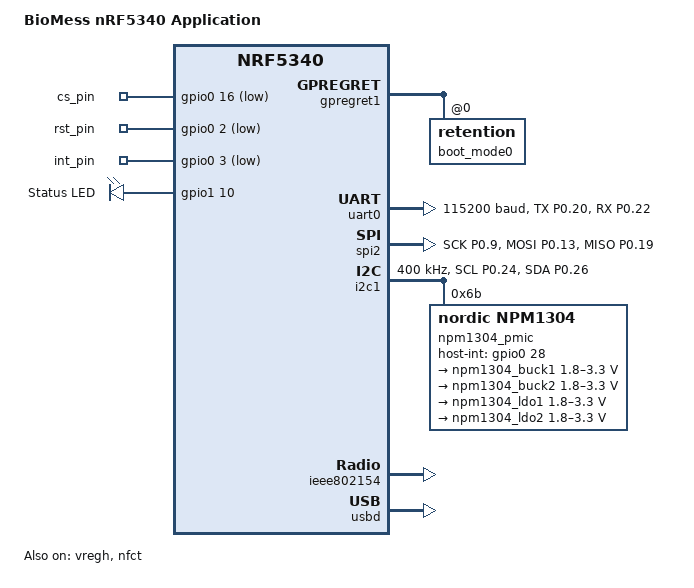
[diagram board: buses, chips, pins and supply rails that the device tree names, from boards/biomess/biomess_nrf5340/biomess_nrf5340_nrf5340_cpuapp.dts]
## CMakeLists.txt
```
# SPDX-License-Identifier: Apache-2.0

cmake_minimum_required(VERSION 3.20.0)
find_package(Zephyr REQUIRED HINTS $ENV{ZEPHYR_BASE})
project(biomess_nrf5340)

target_sources(app PRIVATE
    src/main.c
    src/ble_service.c
    src/board_power.c
    src/contact_check.c
    src/ad5940/ad5940.c
    src/ad5940/BodyImpedance.c
    src/ad5940/AD5940Main.c
    src/ad5940/ZephyrPort.c
)

target_include_directories(app PRIVATE src/ad5940)
```

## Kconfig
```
menu "BioMess firmware"

config BIOMESS_SERIAL_NUMBER
	string "BioMess serial number"
	default "BM-NRF5340-00"
	help
	  Human-readable device serial exposed over the BioMess BLE serial
	  characteristic. Set this per board together with CONFIG_BT_DEVICE_NAME,
	  for example Messi-02.

config MYOHM_EXCITATION_MVPP
	int "AD5941 excitation DAC amplitude (mV peak-to-peak)"
	range 50 800
	default 800
	help
	  Default sweep amplitude written to AppBIACfg.DacVoltPP, in mV
	  peak-to-peak at the HSDAC, before the x2 excitation buffer gain
	  (EXCITBUFGAIN_2). The voltage at CE0 is twice this value and the
	  current into I+ is limited by the 1 kohm series resistor RL1.

	  800 keeps the setting used for all published Myohm data: 1.6 V pp at
	  CE0 (0.57 mA rms into a short), outside the +/-607 mV range over
	  which the AD5941 output is specified. 500 is the recommended value
	  for measurements on people: 1.0 V pp at CE0, 0.35 mA rms into a
	  short. BLE clients can override the value through characteristic
	  0xC018; the override is kept in RAM and returns to this default
	  after a reset.

config MYOHM_CONTACT_HIGH_OHMS
	int "Contact check threshold for a high two-wire impedance (ohms)"
	range 100 1000000
	default 3000
	help
	  BLE command 0x0B measures the two-wire impedance between electrode
	  pairs at 10 kHz and 100 kHz. An entry whose magnitude, after
	  subtracting the board series elements (RL1 and the 4.7 uF coupling
	  capacitors), exceeds this threshold is flagged as high contact.
	  Each pair includes two contacts plus the tissue between them. The
	  default sits between a pair of 1 kohm contacts (about 2 kohm) and a
	  single 4.99 kohm contact (above 5 kohm) on the AD5940 Z test board.

endmenu

source "Kconfig.zephyr"
```

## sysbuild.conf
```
# Build the nRF5340 network-core Bluetooth controller image.
SB_CONFIG_NETCORE_HCI_IPC=y
```

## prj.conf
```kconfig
CONFIG_GPIO=y
CONFIG_SPI=y
CONFIG_I2C=y
CONFIG_SENSOR=y
CONFIG_REGULATOR=y
CONFIG_LOG=y
CONFIG_FPU=y
CONFIG_NEWLIB_LIBC=y
CONFIG_NEWLIB_LIBC_FLOAT_PRINTF=y

CONFIG_MAIN_STACK_SIZE=8192
CONFIG_SYSTEM_WORKQUEUE_STACK_SIZE=4096

# Let Zephyr place idle-capable peripherals into low-power states when they are not in use.
CONFIG_PM_DEVICE=y
CONFIG_PM_DEVICE_RUNTIME=y

CONFIG_SERIAL=y
CONFIG_CONSOLE=y
CONFIG_UART_CONSOLE=y
CONFIG_PRINTK=y
CONFIG_LOG_BACKEND_UART=y
CONFIG_FAULT_DUMP=2

# The application core uses HCI IPC, so it must release the network core.
CONFIG_SOC_NRF53_CPUNET_ENABLE=y

# Bluetooth peripheral used by the Android and iOS apps in this repo.
CONFIG_BT=y
CONFIG_BT_PERIPHERAL=y
CONFIG_BT_DEVICE_NAME="BioMess"
CONFIG_BT_DEVICE_APPEARANCE=833
CONFIG_BT_MAX_CONN=1
CONFIG_BT_GATT_CLIENT=n
CONFIG_BT_GATT_DYNAMIC_DB=n
CONFIG_BT_BUF_ACL_TX_SIZE=251
CONFIG_BT_BUF_ACL_RX_SIZE=251
CONFIG_BT_BUF_ACL_TX_COUNT=10
CONFIG_BT_BUF_EVT_RX_COUNT=12
CONFIG_BT_L2CAP_TX_MTU=247
CONFIG_BT_ATT_PREPARE_COUNT=2
```

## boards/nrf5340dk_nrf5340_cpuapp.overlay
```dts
#include <zephyr/dt-bindings/regulator/npm13xx.h>

&uicr {
	nfct-pins-as-gpios;
};

&spi4 {
	status = "disabled";
};

&pinctrl {
	spi2_default: spi2_default {
		group1 {
			psels = <NRF_PSEL(SPIM_SCK, 0, 9)>,
				<NRF_PSEL(SPIM_MOSI, 0, 13)>,
				<NRF_PSEL(SPIM_MISO, 0, 19)>;
		};
	};
	spi2_sleep: spi2_sleep {
		group1 {
			psels = <NRF_PSEL(SPIM_SCK, 0, 9)>,
				<NRF_PSEL(SPIM_MOSI, 0, 13)>,
				<NRF_PSEL(SPIM_MISO, 0, 19)>;
			low-power-enable;
		};
	};
	i2c1_default: i2c1_default {
		group1 {
			psels = <NRF_PSEL(TWIM_SCL, 0, 24)>,
				<NRF_PSEL(TWIM_SDA, 0, 26)>;
			bias-pull-up;
		};
	};
	i2c1_sleep: i2c1_sleep {
		group1 {
			psels = <NRF_PSEL(TWIM_SCL, 0, 24)>,
				<NRF_PSEL(TWIM_SDA, 0, 26)>;
			low-power-enable;
		};
	};
};

&spi2 {
	compatible = "nordic,nrf-spim";
	status = "okay";
	pinctrl-0 = <&spi2_default>;
	pinctrl-1 = <&spi2_sleep>;
	pinctrl-names = "default", "sleep";
	/delete-property/ cs-gpios;
};

&i2c1 {
	compatible = "nordic,nrf-twim";
	status = "okay";
	pinctrl-0 = <&i2c1_default>;
	pinctrl-1 = <&i2c1_sleep>;
	pinctrl-names = "default", "sleep";
	clock-frequency = <I2C_BITRATE_FAST>;

	npm1304_pmic: pmic@6b {
		compatible = "nordic,npm1304";
		reg = <0x6b>;
		host-int-gpios = <&gpio0 28 GPIO_ACTIVE_LOW>;
		pmic-int-pin = <3>;
		ship-to-active-time-ms = <96>;
		long-press-reset = "one-button";

		npm1304_gpio: gpio-controller {
			compatible = "nordic,npm1304-gpio";
			gpio-controller;
			#gpio-cells = <2>;
			ngpios = <5>;
		};

		npm1304_regulators: regulators {
			compatible = "nordic,npm1304-regulator";

			npm1304_buck1: BUCK1 {
				regulator-min-microvolt = <1800000>;
				regulator-max-microvolt = <3300000>;
				regulator-boot-on;
			};

			npm1304_buck2: BUCK2 {
				regulator-min-microvolt = <1800000>;
				regulator-max-microvolt = <3300000>;
			};

			npm1304_ldo1: LDO1 {
				regulator-min-microvolt = <1800000>;
				regulator-max-microvolt = <3300000>;
			};

			npm1304_ldo2: LDO2 {
				regulator-min-microvolt = <1800000>;
				regulator-max-microvolt = <3300000>;
			};
		};

		npm1304_charger: charger {
			compatible = "nordic,npm1304-charger";
			term-microvolt = <4150000>;
			term-warm-microvolt = <4000000>;
			current-microamp = <100000>;
			vbus-limit-microamp = <500000>;
			thermistor-ohms = <10000>;
			thermistor-beta = <3380>;
			charging-enable;
		};
	};
};

/ {
	aliases {
		led0 = &status_led;
		sw0 = &power_button;
	};

	ad5940_gpios {
		compatible = "gpio-leds";
		cs_pin: cs_pin {
			gpios = <&gpio0 16 GPIO_ACTIVE_LOW>;
		};
		rst_pin: rst_pin {
			gpios = <&gpio0 2 GPIO_ACTIVE_LOW>;
		};
		int_pin: int_pin {
			gpios = <&gpio0 3 (GPIO_PULL_UP | GPIO_ACTIVE_LOW)>;
		};
	};

	leds {
		compatible = "gpio-leds";
		status_led: status_led {
			gpios = <&gpio1 10 GPIO_ACTIVE_HIGH>;
			label = "Status LED";
		};
	};

	buttons {
		compatible = "gpio-keys";
		power_button: power_button {
			gpios = <&gpio1 6 (GPIO_PULL_UP | GPIO_ACTIVE_LOW)>;
			label = "nPM1304 power button";
		};
	};
};
```

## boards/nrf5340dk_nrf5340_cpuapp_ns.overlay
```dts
#include <zephyr/dt-bindings/regulator/npm13xx.h>

&uicr {
	nfct-pins-as-gpios;
};

&spi4 {
	status = "disabled";
};

&pinctrl {
	spi2_default: spi2_default {
		group1 {
			psels = <NRF_PSEL(SPIM_SCK, 0, 9)>,
				<NRF_PSEL(SPIM_MOSI, 0, 13)>,
				<NRF_PSEL(SPIM_MISO, 0, 19)>;
		};
	};
	spi2_sleep: spi2_sleep {
		group1 {
			psels = <NRF_PSEL(SPIM_SCK, 0, 9)>,
				<NRF_PSEL(SPIM_MOSI, 0, 13)>,
				<NRF_PSEL(SPIM_MISO, 0, 19)>;
			low-power-enable;
		};
	};
	i2c1_default: i2c1_default {
		group1 {
			psels = <NRF_PSEL(TWIM_SCL, 0, 24)>,
				<NRF_PSEL(TWIM_SDA, 0, 26)>;
			bias-pull-up;
		};
	};
	i2c1_sleep: i2c1_sleep {
		group1 {
			psels = <NRF_PSEL(TWIM_SCL, 0, 24)>,
				<NRF_PSEL(TWIM_SDA, 0, 26)>;
			low-power-enable;
		};
	};
};

&spi2 {
	compatible = "nordic,nrf-spim";
	status = "okay";
	pinctrl-0 = <&spi2_default>;
	pinctrl-1 = <&spi2_sleep>;
	pinctrl-names = "default", "sleep";
	/delete-property/ cs-gpios;
};

&i2c1 {
	compatible = "nordic,nrf-twim";
	status = "okay";
	pinctrl-0 = <&i2c1_default>;
	pinctrl-1 = <&i2c1_sleep>;
	pinctrl-names = "default", "sleep";
	clock-frequency = <I2C_BITRATE_FAST>;

	npm1304_pmic: pmic@6b {
		compatible = "nordic,npm1304";
		reg = <0x6b>;
		host-int-gpios = <&gpio0 28 GPIO_ACTIVE_LOW>;
		pmic-int-pin = <3>;
		ship-to-active-time-ms = <96>;
		long-press-reset = "one-button";

		npm1304_gpio: gpio-controller {
			compatible = "nordic,npm1304-gpio";
			gpio-controller;
			#gpio-cells = <2>;
			ngpios = <5>;
		};

		npm1304_regulators: regulators {
			compatible = "nordic,npm1304-regulator";

			npm1304_buck1: BUCK1 {
				regulator-min-microvolt = <1800000>;
				regulator-max-microvolt = <3300000>;
				regulator-boot-on;
			};

			npm1304_buck2: BUCK2 {
				regulator-min-microvolt = <1800000>;
				regulator-max-microvolt = <3300000>;
			};

			npm1304_ldo1: LDO1 {
				regulator-min-microvolt = <1800000>;
				regulator-max-microvolt = <3300000>;
			};

			npm1304_ldo2: LDO2 {
				regulator-min-microvolt = <1800000>;
				regulator-max-microvolt = <3300000>;
			};
		};

		npm1304_charger: charger {
			compatible = "nordic,npm1304-charger";
			term-microvolt = <4150000>;
			term-warm-microvolt = <4000000>;
			current-microamp = <100000>;
			vbus-limit-microamp = <500000>;
			thermistor-ohms = <10000>;
			thermistor-beta = <3380>;
			charging-enable;
		};
	};
};

/ {
	aliases {
		led0 = &status_led;
		sw0 = &power_button;
	};

	ad5940_gpios {
		compatible = "gpio-leds";
		cs_pin: cs_pin {
			gpios = <&gpio0 16 GPIO_ACTIVE_LOW>;
		};
		rst_pin: rst_pin {
			gpios = <&gpio0 2 GPIO_ACTIVE_LOW>;
		};
		int_pin: int_pin {
			gpios = <&gpio0 3 (GPIO_PULL_UP | GPIO_ACTIVE_LOW)>;
		};
	};

	leds {
		compatible = "gpio-leds";
		status_led: status_led {
			gpios = <&gpio1 10 GPIO_ACTIVE_HIGH>;
			label = "Status LED";
		};
	};

	buttons {
		compatible = "gpio-keys";
		power_button: power_button {
			gpios = <&gpio1 6 (GPIO_PULL_UP | GPIO_ACTIVE_LOW)>;
			label = "nPM1304 power button";
		};
	};
};
```

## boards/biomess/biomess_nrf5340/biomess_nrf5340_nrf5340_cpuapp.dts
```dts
/*
 * BioMess nRF5340 PCB application core devicetree.
 *
 * SPDX-License-Identifier: Apache-2.0
 */

/dts-v1/;
#include <nordic/nrf5340_cpuapp_qkaa.dtsi>
#include <zephyr/dt-bindings/regulator/npm13xx.h>

/ {
	model = "BioMess nRF5340 Application";
	compatible = "biomess,biomess-nrf5340-cpuapp";

	chosen {
		zephyr,console = &uart0;
		zephyr,shell-uart = &uart0;
		zephyr,uart-mcumgr = &uart0;
		zephyr,bt-mon-uart = &uart0;
		zephyr,bt-c2h-uart = &uart0;
		zephyr,bt-hci = &bt_hci_ipc0;
		nordic,802154-spinel-ipc = &ipc0;
		zephyr,ieee802154 = &ieee802154;
		zephyr,sram = &sram0_image;
		zephyr,flash = &flash0;
		zephyr,code-partition = &slot0_partition;
		zephyr,sram-secure-partition = &sram0_s;
		zephyr,sram-non-secure-partition = &sram0_ns;
		zephyr,boot-mode = &boot_mode0;
	};

	aliases {
		led0 = &status_led;
		watchdog0 = &wdt0;
	};

	ad5940_gpios {
		compatible = "gpio-leds";
		cs_pin: cs_pin {
			gpios = <&gpio0 16 GPIO_ACTIVE_LOW>;
		};
		rst_pin: rst_pin {
			gpios = <&gpio0 2 GPIO_ACTIVE_LOW>;
		};
		int_pin: int_pin {
			gpios = <&gpio0 3 (GPIO_PULL_UP | GPIO_ACTIVE_LOW)>;
		};
	};

	leds {
		compatible = "gpio-leds";
		status_led: status_led {
			gpios = <&gpio1 10 GPIO_ACTIVE_HIGH>;
			label = "Status LED";
		};
	};

};

&uicr {
	nfct-pins-as-gpios;
};

&gpregret1 {
	status = "okay";

	boot_mode0: boot_mode@0 {
		compatible = "zephyr,retention";
		status = "okay";
		reg = <0x0 0x1>;
	};
};

&vregmain {
	regulator-initial-mode = <NRF5X_REG_MODE_DCDC>;
};

&vregradio {
	regulator-initial-mode = <NRF5X_REG_MODE_DCDC>;
};

&vregh {
	status = "okay";
};

&lfxo {
	load-capacitors = "internal";
	load-capacitance-picofarad = <7>;
};

&gpiote {
	status = "okay";
};

&gpio0 {
	status = "okay";
};

&gpio1 {
	status = "okay";
};

&nfct {
	status = "okay";
};

&spi4 {
	status = "disabled";
};

&pinctrl {
	uart0_default: uart0_default {
		group1 {
			psels = <NRF_PSEL(UART_TX, 0, 20)>;
		};
		group2 {
			psels = <NRF_PSEL(UART_RX, 0, 22)>;
			bias-pull-up;
		};
	};

	uart0_sleep: uart0_sleep {
		group1 {
			psels = <NRF_PSEL(UART_TX, 0, 20)>,
				<NRF_PSEL(UART_RX, 0, 22)>;
			low-power-enable;
		};
	};

	spi2_default: spi2_default {
		group1 {
			psels = <NRF_PSEL(SPIM_SCK, 0, 9)>,
				<NRF_PSEL(SPIM_MOSI, 0, 13)>,
				<NRF_PSEL(SPIM_MISO, 0, 19)>;
		};
	};

	spi2_sleep: spi2_sleep {
		group1 {
			psels = <NRF_PSEL(SPIM_SCK, 0, 9)>,
				<NRF_PSEL(SPIM_MOSI, 0, 13)>,
				<NRF_PSEL(SPIM_MISO, 0, 19)>;
			low-power-enable;
		};
	};

	i2c1_default: i2c1_default {
		group1 {
			psels = <NRF_PSEL(TWIM_SCL, 0, 24)>,
				<NRF_PSEL(TWIM_SDA, 0, 26)>;
			bias-pull-up;
		};
	};

	i2c1_sleep: i2c1_sleep {
		group1 {
			psels = <NRF_PSEL(TWIM_SCL, 0, 24)>,
				<NRF_PSEL(TWIM_SDA, 0, 26)>;
			low-power-enable;
		};
	};
};

&uart0 {
	status = "okay";
	current-speed = <115200>;
	pinctrl-0 = <&uart0_default>;
	pinctrl-1 = <&uart0_sleep>;
	pinctrl-names = "default", "sleep";
};

&spi2 {
	compatible = "nordic,nrf-spim";
	status = "okay";
	pinctrl-0 = <&spi2_default>;
	pinctrl-1 = <&spi2_sleep>;
	pinctrl-names = "default", "sleep";
};

&i2c1 {
	compatible = "nordic,nrf-twim";
	status = "okay";
	pinctrl-0 = <&i2c1_default>;
	pinctrl-1 = <&i2c1_sleep>;
	pinctrl-names = "default", "sleep";
	clock-frequency = <I2C_BITRATE_FAST>;

	npm1304_pmic: pmic@6b {
		compatible = "nordic,npm1304";
		reg = <0x6b>;
		host-int-gpios = <&gpio0 28 0>;
		pmic-int-pin = <0>;
		ship-to-active-time-ms = <96>;
		long-press-reset = "one-button";

		npm1304_gpio: gpio-controller {
			compatible = "nordic,npm1304-gpio";
			gpio-controller;
			#gpio-cells = <2>;
			ngpios = <5>;
		};

		npm1304_regulators: regulators {
			compatible = "nordic,npm1304-regulator";

			npm1304_buck1: BUCK1 {
				/* Unpopulated BUCK1: SW1 open, VSET1 grounded. */
				status = "disabled";
				regulator-min-microvolt = <1800000>;
				regulator-max-microvolt = <3300000>;
			};

			npm1304_buck2: BUCK2 {
				regulator-min-microvolt = <1800000>;
				regulator-max-microvolt = <3300000>;
			};

			npm1304_ldo1: LDO1 {
				regulator-min-microvolt = <1800000>;
				regulator-max-microvolt = <3300000>;
			};

			npm1304_ldo2: LDO2 {
				regulator-min-microvolt = <1800000>;
				regulator-max-microvolt = <3300000>;
			};
		};

		npm1304_charger: charger {
			compatible = "nordic,npm1304-charger";
			term-microvolt = <4150000>;
			term-warm-microvolt = <4000000>;
			current-microamp = <100000>;
			vbus-limit-microamp = <500000>;
			thermistor-ohms = <10000>;
			thermistor-beta = <3380>;
			/* Charge enable withheld: R7 is fixed, cell has no verified NTC. */
		};
	};
};

&ieee802154 {
	status = "okay";
};

zephyr_udc0: &usbd {
	compatible = "nordic,nrf-usbd";
	status = "okay";
};

#include <nordic/nrf5340_cpuapp_partition.dtsi>
```

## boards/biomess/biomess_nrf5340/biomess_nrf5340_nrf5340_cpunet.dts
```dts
/*
 * BioMess nRF5340 PCB network core devicetree.
 *
 * SPDX-License-Identifier: Apache-2.0
 */

/dts-v1/;
#include <nordic/nrf5340_cpunet_qkaa.dtsi>

/ {
	model = "BioMess nRF5340 Network";
	compatible = "biomess,biomess-nrf5340-cpunet";

	chosen {
		zephyr,console = &uart0;
		zephyr,shell-uart = &uart0;
		zephyr,uart-mcumgr = &uart0;
		zephyr,bt-mon-uart = &uart0;
		zephyr,bt-c2h-uart = &uart0;
		zephyr,bt-hci-ipc = &ipc0;
		nordic,802154-spinel-ipc = &ipc0;
		zephyr,sram = &sram1;
		zephyr,flash = &flash1;
		zephyr,code-partition = &slot0_partition;
		zephyr,ieee802154 = &ieee802154;
	};

	aliases {
		watchdog0 = &wdt0;
	};
};

&gpiote {
	status = "okay";
};

&gpio0 {
	status = "okay";
};

&gpio1 {
	status = "okay";
};

&pinctrl {
	uart0_default: uart0_default {
		group1 {
			psels = <NRF_PSEL(UART_TX, 1, 1)>;
		};
		group2 {
			psels = <NRF_PSEL(UART_RX, 1, 0)>;
			bias-pull-up;
		};
	};

	uart0_sleep: uart0_sleep {
		group1 {
			psels = <NRF_PSEL(UART_TX, 1, 1)>,
				<NRF_PSEL(UART_RX, 1, 0)>;
			low-power-enable;
		};
	};
};

&uart0 {
	status = "okay";
	current-speed = <115200>;
	pinctrl-0 = <&uart0_default>;
	pinctrl-1 = <&uart0_sleep>;
	pinctrl-names = "default", "sleep";
};

&flash1 {
	partitions {
		compatible = "fixed-partitions";
		#address-cells = <1>;
		#size-cells = <1>;

		boot_partition: partition@0 {
			label = "mcuboot";
			reg = <0x00000000 0xc000>;
		};

		slot0_partition: partition@c000 {
			label = "image-0";
			reg = <0x0000c000 0x17000>;
		};

		slot1_partition: partition@23000 {
			label = "image-1";
			reg = <0x00023000 0x17000>;
		};

		storage_partition: partition@3a000 {
			label = "storage";
			reg = <0x0003a000 0x6000>;
		};
	};
};

&ieee802154 {
	status = "okay";
};

#include <nordic/nrf5340_shared_sram_partition.dtsi>
```

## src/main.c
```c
#include <zephyr/kernel.h>
#include <zephyr/drivers/gpio.h>
#include <zephyr/logging/log.h>
#include <stdio.h>
#include "ad5940.h"
#include "AD5940Main.h"
#include "ble_service.h"
#include "board_power.h"

LOG_MODULE_REGISTER(main, LOG_LEVEL_INF);

volatile int biomess_boot_ble_ret = -9999;
volatile int biomess_boot_ad5940_ret = -9999;
volatile uint32_t biomess_boot_status_flags;

#define BIOMESS_BOOT_STATUS_BLE_OK BIT(0)
#define BIOMESS_BOOT_STATUS_AD5940_OK BIT(1)

static const struct gpio_dt_spec status_led = GPIO_DT_SPEC_GET_OR(DT_ALIAS(led0), gpios, {0});
static struct k_work button_short_led_work;
static struct k_work button_long_ready_led_work;
static struct k_work button_shutdown_led_work;

static void status_led_init(void)
{
	if (!gpio_is_ready_dt(&status_led)) {
		printf("WARN: status LED GPIO is not ready\n");
		return;
	}

	int ret = gpio_pin_configure_dt(&status_led, GPIO_OUTPUT_INACTIVE);
	if (ret != 0) {
		printf("WARN: status LED config failed: %d\n", ret);
		return;
	}

	printf("Status LED ready on %s.%u\n", status_led.port->name, status_led.pin);
}

static void status_led_set(bool on)
{
	if (!gpio_is_ready_dt(&status_led)) {
		return;
	}

	gpio_pin_set_dt(&status_led, on ? 1 : 0);
}

static void status_led_pattern(uint8_t pulses)
{
	if (!gpio_is_ready_dt(&status_led)) {
		k_msleep(1000);
		return;
	}

	for (uint8_t i = 0; i < pulses; i++) {
		gpio_pin_set_dt(&status_led, 1);
		k_msleep(120);
		gpio_pin_set_dt(&status_led, 0);
		k_msleep(160);
	}

	k_msleep(1200);
}

static void button_short_led_work_handler(struct k_work *work)
{
	ARG_UNUSED(work);

	if (!gpio_is_ready_dt(&status_led)) {
		return;
	}

	gpio_pin_set_dt(&status_led, 1);
	k_msleep(90);
	gpio_pin_set_dt(&status_led, 0);
}

static void button_long_ready_led_work_handler(struct k_work *work)
{
	ARG_UNUSED(work);

	if (!gpio_is_ready_dt(&status_led)) {
		return;
	}

	gpio_pin_set_dt(&status_led, 1);
	k_msleep(850);
	gpio_pin_set_dt(&status_led, 0);
}

static void button_shutdown_led_work_handler(struct k_work *work)
{
	ARG_UNUSED(work);

	if (!gpio_is_ready_dt(&status_led)) {
		return;
	}

	gpio_pin_set_dt(&status_led, 0);
}

static uint8_t status_led_pulses(void)
{
	bool ble_ok = biomess_boot_ble_ret == 0;
	bool ad5940_ok = biomess_boot_ad5940_ret == 0;

	if (ble_ok && ad5940_ok) {
		return 1;
	}
	if (!ble_ok && ad5940_ok) {
		return 2;
	}
	if (ble_ok && !ad5940_ok) {
		return 3;
	}
	return 4;
}

static void power_button_callback(enum board_power_button_event event)
{
	if (event == BOARD_POWER_BUTTON_SHORT_PRESS) {
		k_work_submit(&button_short_led_work);
		ble_service_request_fast_advertising();
	} else if (event == BOARD_POWER_BUTTON_LONG_PRESS_READY) {
		k_work_submit(&button_long_ready_led_work);
	} else if (event == BOARD_POWER_BUTTON_SHUTDOWN_RELEASED) {
		k_work_submit(&button_shutdown_led_work);
	}
}

int main(void)
{
	status_led_init();
	k_work_init(&button_short_led_work, button_short_led_work_handler);
	k_work_init(&button_long_ready_led_work, button_long_ready_led_work_handler);
	k_work_init(&button_shutdown_led_work, button_shutdown_led_work_handler);
	status_led_set(true);

	/* Delay to allow serial connection before output */
	k_msleep(3000);
	printf("\n\n=== AD5940 Bioimpedance Analyzer ===\n");

	board_power_init();
	biomess_boot_ble_ret = ble_service_init();
	if (biomess_boot_ble_ret == 0) {
		biomess_boot_status_flags |= BIOMESS_BOOT_STATUS_BLE_OK;
	} else {
		printf("ERROR: BLE init failed: %d\n", biomess_boot_ble_ret);
	}

	biomess_boot_ad5940_ret = AD5940_MCUResourceInit();
	if (biomess_boot_ad5940_ret == 0) {
		biomess_boot_status_flags |= BIOMESS_BOOT_STATUS_AD5940_OK;
	} else {
		printf("ERROR: MCU resource init failed: %d\n", biomess_boot_ad5940_ret);
	}

	board_power_set_button_callback(power_button_callback);
	status_led_set(false);
	k_msleep(250);
	status_led_pattern(status_led_pulses());
	printf("Ready. Connect with the BioMess app and send BLE command 0x01.\n");

	k_sleep(K_FOREVER);

	return 0;
}
```

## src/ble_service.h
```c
#ifndef BLE_SERVICE_H
#define BLE_SERVICE_H

#include <stddef.h>
#include <stdint.h>

int ble_service_init(void);
void ble_service_request_fast_advertising(void);
int ble_service_notify_measurement_chunk(const void *data, size_t len);
int ble_service_notify_battery(uint16_t voltage_mv, uint16_t percentage);

#endif
```

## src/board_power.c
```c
#include "board_power.h"

#include <zephyr/device.h>
#include <zephyr/devicetree.h>
#include <zephyr/drivers/gpio.h>
#include <zephyr/drivers/mfd/npm13xx.h>
#include <zephyr/drivers/regulator.h>
#include <zephyr/drivers/sensor.h>
#include <zephyr/kernel.h>
#include <zephyr/logging/log.h>
#include <zephyr/sys/util.h>

LOG_MODULE_REGISTER(board_power, LOG_LEVEL_INF);

#define PMIC_NODE DT_NODELABEL(npm1304_pmic)
#define CHARGER_NODE DT_NODELABEL(npm1304_charger)
#define REGULATORS_NODE DT_NODELABEL(npm1304_regulators)

#define POWER_BUTTON_LONG_PRESS_MS 3000
#define POWER_BUTTON_SHIP_AFTER_RELEASE_MS 250

static const struct device *const pmic = DEVICE_DT_GET(PMIC_NODE);
static const struct device *const charger = DEVICE_DT_GET(CHARGER_NODE);
static const struct device *const regulators = DEVICE_DT_GET(REGULATORS_NODE);

static struct gpio_callback pmic_event_cb;
static struct k_work_delayable long_press_work;
static struct k_work_delayable ship_after_release_work;
static bool vbus_connected;
static bool button_pressed;
static bool long_press_ready;
static board_power_button_callback_t button_callback;
static int64_t last_button_release_handled_ms;

void board_power_set_button_callback(board_power_button_callback_t callback)
{
	button_callback = callback;
}

static int board_power_refresh_vbus_state(void)
{
	struct sensor_value val;
	int ret;

	if (!device_is_ready(charger)) {
		return -ENODEV;
	}

	ret = sensor_attr_get(charger, SENSOR_CHAN_CURRENT, SENSOR_ATTR_UPPER_THRESH, &val);
	if (ret < 0) {
		return ret;
	}

	vbus_connected = (val.val1 != 0) || (val.val2 != 0);
	return 0;
}

int board_power_enter_ship_mode(void)
{
	int ret;

	if (!device_is_ready(regulators)) {
		LOG_WRN("nPM1304 regulators are not ready");
		return -ENODEV;
	}

	if (vbus_connected) {
		LOG_WRN("Ship mode entry blocked while USB VBUS is present");
		return -EBUSY;
	}

	LOG_INF("Entering nPM1304 ship mode");
	ret = regulator_parent_ship_mode(regulators);
	if (ret < 0) {
		LOG_ERR("Could not enter nPM1304 ship mode: %d", ret);
	}

	return ret;
}

static void board_power_handle_button_release(int64_t press_duration_ms)
{
	int64_t now_ms = k_uptime_get();

	button_pressed = false;
	(void)k_work_cancel_delayable(&long_press_work);

	if ((now_ms - last_button_release_handled_ms) < 250) {
		LOG_INF("Ignoring duplicate button release event");
		return;
	}
	last_button_release_handled_ms = now_ms;

	if (long_press_ready || press_duration_ms >= POWER_BUTTON_LONG_PRESS_MS) {
		LOG_INF("nPM1304 shiphold long press released; scheduling ship mode");
		if (button_callback != NULL) {
			button_callback(BOARD_POWER_BUTTON_SHUTDOWN_RELEASED);
		}
		(void)k_work_reschedule(&ship_after_release_work,
					 K_MSEC(POWER_BUTTON_SHIP_AFTER_RELEASE_MS));
		long_press_ready = false;
	} else if (button_callback != NULL) {
		button_callback(BOARD_POWER_BUTTON_SHORT_PRESS);
	}
}

static void long_press_work_handler(struct k_work *work)
{
	ARG_UNUSED(work);

	if (!button_pressed || long_press_ready) {
		return;
	}

	LOG_INF("nPM1304 shiphold long press threshold reached");
	long_press_ready = true;

	if (button_callback != NULL) {
		button_callback(BOARD_POWER_BUTTON_LONG_PRESS_READY);
	}
}

static void ship_after_release_work_handler(struct k_work *work)
{
	ARG_UNUSED(work);

	if (button_pressed) {
		LOG_WRN("Ship mode entry deferred because SHPHLD is still pressed");
		return;
	}

	(void)board_power_enter_ship_mode();
}

static void pmic_event_handler(const struct device *dev, struct gpio_callback *cb, uint32_t pins)
{
	static int64_t press_started_ms;
	int64_t press_duration_ms;

	ARG_UNUSED(dev);
	ARG_UNUSED(cb);

	if (pins & BIT(NPM13XX_EVENT_SHIPHOLD_PRESS)) {
		press_started_ms = k_uptime_get();
		button_pressed = true;
		long_press_ready = false;
		(void)k_work_cancel_delayable(&ship_after_release_work);
		(void)k_work_reschedule(&long_press_work, K_MSEC(POWER_BUTTON_LONG_PRESS_MS));
		LOG_INF("nPM1304 shiphold press");
	}

	if (pins & BIT(NPM13XX_EVENT_SHIPHOLD_RELEASE)) {
		press_duration_ms = k_uptime_get() - press_started_ms;
		LOG_INF("nPM1304 shiphold release after %lld ms", press_duration_ms);

		board_power_handle_button_release(press_duration_ms);
	}

	if (pins & BIT(NPM13XX_EVENT_VBUS_DETECTED)) {
		vbus_connected = true;
		LOG_INF("USB VBUS detected");
	}

	if (pins & BIT(NPM13XX_EVENT_VBUS_REMOVED)) {
		vbus_connected = false;
		LOG_INF("USB VBUS removed");
	}
}

void board_power_init(void)
{
	int ret;

	if (!device_is_ready(pmic)) {
		LOG_ERR("nPM1304 PMIC is not ready");
		return;
	}

	LOG_INF("nPM1304 PMIC ready");

	if (device_is_ready(regulators)) {
		LOG_INF("nPM1304 regulators ready");
	} else {
		LOG_WRN("nPM1304 regulators are not ready");
	}

	k_work_init_delayable(&long_press_work, long_press_work_handler);
	k_work_init_delayable(&ship_after_release_work, ship_after_release_work_handler);

	gpio_init_callback(&pmic_event_cb, pmic_event_handler,
			   BIT(NPM13XX_EVENT_SHIPHOLD_PRESS) |
				   BIT(NPM13XX_EVENT_SHIPHOLD_RELEASE) |
				   BIT(NPM13XX_EVENT_VBUS_DETECTED) |
				   BIT(NPM13XX_EVENT_VBUS_REMOVED));
	ret = mfd_npm13xx_add_callback(pmic, &pmic_event_cb);
	if (ret < 0) {
		LOG_WRN("Could not register nPM1304 event callback: %d", ret);
	}

	if (device_is_ready(charger)) {
		/* Research candidate: explicitly clear a retained charging state.
         * R7 is a fixed resistor, not a battery temperature sensor.
         * This does not protect the interval before firmware initialization.
         */
        const struct sensor_value charge_disabled = { .val1 = 0, .val2 = 0 };
        ret = sensor_attr_set(charger, SENSOR_CHAN_GAUGE_DESIRED_CHARGING_CURRENT,
                              SENSOR_ATTR_CONFIGURATION, &charge_disabled);
        if (ret < 0) {
            LOG_ERR("Could not inhibit charging; disconnect battery/USB: %d", ret);
        } else {
            LOG_INF("Battery charging inhibited pending cell/NTC qualification");
        }
		ret = board_power_refresh_vbus_state();
		if (ret < 0) {
			LOG_WRN("Could not read initial USB VBUS state: %d", ret);
		} else {
			LOG_INF("Initial USB VBUS state: %s", vbus_connected ? "connected" : "removed");
		}
	} else {
		LOG_WRN("nPM1304 charger is not ready");
	}
}

int board_power_read_battery(uint16_t *voltage_mv, uint16_t *percentage)
{
	struct sensor_value voltage;
	int ret;
	int32_t mv;
	int32_t pct;

	if (voltage_mv == NULL || percentage == NULL) {
		return -EINVAL;
	}

	if (!device_is_ready(charger)) {
		return -ENODEV;
	}

	ret = sensor_sample_fetch(charger);
	if (ret < 0) {
		return ret;
	}

	ret = sensor_channel_get(charger, SENSOR_CHAN_GAUGE_VOLTAGE, &voltage);
	if (ret < 0) {
		return ret;
	}

	mv = (voltage.val1 * 1000) + (voltage.val2 / 1000);
	mv = CLAMP(mv, 0, UINT16_MAX);

	/* Conservative LiPo estimate until a fuel-gauge model is added. */
	pct = ((mv - 3300) * 100) / (4200 - 3300);
	pct = CLAMP(pct, 0, 100);

	*voltage_mv = (uint16_t)mv;
	*percentage = (uint16_t)pct;

	return 0;
}
```

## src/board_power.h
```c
#ifndef BOARD_POWER_H
#define BOARD_POWER_H

#include <stdint.h>

enum board_power_button_event {
	BOARD_POWER_BUTTON_SHORT_PRESS,
	BOARD_POWER_BUTTON_LONG_PRESS_READY,
	BOARD_POWER_BUTTON_SHUTDOWN_RELEASED,
};

typedef void (*board_power_button_callback_t)(enum board_power_button_event event);

void board_power_init(void);
void board_power_set_button_callback(board_power_button_callback_t callback);
int board_power_read_battery(uint16_t *voltage_mv, uint16_t *percentage);
int board_power_enter_ship_mode(void);

#endif
```

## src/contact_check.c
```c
/* SPDX-License-Identifier: Apache-2.0 */
/*
 * Two-wire electrode contact check for the Myohm AD5941 front end.
 *
 * Board topology (hardware/mainboard, sheet AD5941):
 *   CE0  - RL1 1 kohm - C5 4.7 uF - I+  (CN1.1)
 *   AIN1 - C4 4.7 uF            - I-  (CN1.4)
 *   AIN2 - C3 4.7 uF            - V+  (CN1.2)
 *   AIN3 - C2 4.7 uF            - V-  (CN1.3)
 *   RCAL0 - RCAL1 30 ohm 0.1 %; DE0, SE0, RE0 and AIN0 are not connected.
 *
 * For each pair the excitation buffer drives one pin (D and P switches on
 * the same pin) and the HSTIA holds the other pin at virtual ground (N and T
 * switches on the same pin). The ADC measures the forced voltage between the
 * P and N nodes and then the HSTIA output. The same measurement on RCAL gives
 * the RTIA transfer, so
 *
 *   Z = RCAL * (V_pair / Vtia_pair) * (Vtia_rcal / V_rcal)
 *
 * which cancels RTIA, PGA and DFT scaling (ratio method of the ADI impedance
 * examples). RL1 (for pairs that include I+) and the two coupling capacitors
 * are then subtracted with their nominal values.
 *
 * The excitation uses HSDACGAIN_0P2 and EXCITBUFGAIN_0P25, so the pins see at
 * most 40 mVpp regardless of CONFIG_MYOHM_EXCITATION_MVPP. Pairs without RL1
 * have no series resistor on the board; the low amplitude keeps their current
 * at 0.2 mApp (71 uA rms) for a 200 ohm electrode path.
 */

#include "contact_check.h"

#include <errno.h>
#include <math.h>
#include <string.h>

#include <zephyr/kernel.h>
#include <zephyr/sys/byteorder.h>
#include <zephyr/sys/printk.h>

#include "ad5940.h"
#include "AD5940Main.h"

#define CONTACT_SYS_CLK_HZ         16000000.0f /* HFOSC in 16 MHz mode, as in AD5940PlatformCfg */
#define CONTACT_RL1_OHM            1000.0f     /* RL1 nominal; tolerance not given in the BOM */
#define CONTACT_COUPLING_CAP_F     4.7e-6f     /* C2..C5 nominal */
#define CONTACT_PAIR_AMP_WORD      2047U       /* 800 mVpp * 0.2 * 0.25 = 40 mVpp at the pins */
#define CONTACT_RCAL_AMP_WORD      1024U       /* ~20 mVpp across RCAL, ~0.67 Vpp at the HSTIA */
#define CONTACT_PAIR_FULL_MVPP     40.0f
#define CONTACT_RCAL_EXC_MVPP      (CONTACT_PAIR_FULL_MVPP * (float)CONTACT_RCAL_AMP_WORD / 2047.0f)
#define CONTACT_RTIA_OHM           1000.0f     /* HSTIARTIA_1K, used only for the range check */
#define CONTACT_TIA_LINEAR_MVPP    1440.0f     /* 80 % of the 1.8 Vpp HSTIA swing (ADI guidance) */
#define CONTACT_SETTLE_FIRST_MS    30          /* ~3 tau of 5 kohm with 2.35 uF in series */
#define CONTACT_SETTLE_NEXT_MS     5
#define CONTACT_RCAL_SETTLE_MS     2
#define CONTACT_MUX_SETTLE_US      100
#define CONTACT_DFT_TIMEOUT_MS     250

#define CONTACT_PI_F 3.14159265f

static const float contact_freqs_hz[CONTACT_CHECK_FREQ_COUNT] = {10000.0f, 100000.0f};

struct contact_route {
	uint8_t pair;
	uint32_t dswitch;
	uint32_t pswitch;
	uint32_t nswitch;
	uint32_t tswitch;
	bool through_rl1;
};

/* Every routed pin has a D/P or N/T switch on the AD5941 matrix (ad5940.h
 * SWD_/SWP_/SWN_/SWT_ constants), so all four pairs are reachable. */
static const struct contact_route contact_routes[CONTACT_PAIR_COUNT] = {
	{CONTACT_PAIR_IP_IM, SWD_CE0,  SWP_CE0,  SWN_AIN1, SWT_AIN1 | SWT_TRTIA, true},
	{CONTACT_PAIR_VP_VM, SWD_AIN2, SWP_AIN2, SWN_AIN3, SWT_AIN3 | SWT_TRTIA, false},
	{CONTACT_PAIR_IP_VP, SWD_CE0,  SWP_CE0,  SWN_AIN2, SWT_AIN2 | SWT_TRTIA, true},
	{CONTACT_PAIR_IM_VM, SWD_AIN3, SWP_AIN3, SWN_AIN1, SWT_AIN1 | SWT_TRTIA, false},
};

static const struct contact_route contact_rcal_route = {
	0xff, SWD_RCAL0, SWP_RCAL0, SWN_RCAL1, SWT_RCAL1 | SWT_TRTIA, false,
};

struct cplx {
	float re;
	float im;
};

static struct cplx cplx_div(struct cplx a, struct cplx b)
{
	float den = b.re * b.re + b.im * b.im;
	struct cplx out = {
		(a.re * b.re + a.im * b.im) / den,
		(a.im * b.re - a.re * b.im) / den,
	};

	return out;
}

static struct cplx cplx_mul(struct cplx a, struct cplx b)
{
	struct cplx out = {
		a.re * b.re - a.im * b.im,
		a.re * b.im + a.im * b.re,
	};

	return out;
}

static float cplx_abs(struct cplx a)
{
	return sqrtf(a.re * a.re + a.im * a.im);
}

static int32_t sign_extend_18(uint32_t raw)
{
	raw &= 0x3ffff;
	if (raw & (1UL << 17)) {
		raw |= 0xfffc0000;
	}
	return (int32_t)raw;
}

static void configure_afe(void)
{
	AFERefCfg_Type aferef_cfg;
	DSPCfg_Type dsp_cfg;

	memset(&aferef_cfg, 0, sizeof(aferef_cfg));
	aferef_cfg.HpBandgapEn = bTRUE;
	aferef_cfg.Hp1V1BuffEn = bTRUE;
	aferef_cfg.Hp1V8BuffEn = bTRUE;
	AD5940_REFCfgS(&aferef_cfg);

	memset(&dsp_cfg, 0, sizeof(dsp_cfg));
	dsp_cfg.ADCBaseCfg.ADCMuxP = ADCMUXP_HSTIA_P;
	dsp_cfg.ADCBaseCfg.ADCMuxN = ADCMUXN_HSTIA_N;
	dsp_cfg.ADCBaseCfg.ADCPga = ADCPGA_1P5;
	dsp_cfg.ADCFilterCfg.ADCAvgNum = ADCAVGNUM_16;
	dsp_cfg.ADCFilterCfg.ADCRate = ADCRATE_800KHZ;
	dsp_cfg.ADCFilterCfg.ADCSinc2Osr = ADCSINC2OSR_22;
	dsp_cfg.ADCFilterCfg.ADCSinc3Osr = ADCSINC3OSR_2;
	dsp_cfg.ADCFilterCfg.BpSinc3 = bFALSE;
	dsp_cfg.ADCFilterCfg.BpNotch = bTRUE;
	dsp_cfg.ADCFilterCfg.Sinc2NotchEnable = bTRUE;
	dsp_cfg.ADCFilterCfg.Sinc2NotchClkEnable = bTRUE;
	dsp_cfg.ADCFilterCfg.Sinc3ClkEnable = bTRUE;
	dsp_cfg.ADCFilterCfg.WGClkEnable = bTRUE;
	dsp_cfg.ADCFilterCfg.DFTClkEnable = bTRUE;
	dsp_cfg.DftCfg.DftNum = DFTNUM_8192;
	dsp_cfg.DftCfg.DftSrc = DFTSRC_SINC3;
	dsp_cfg.DftCfg.HanWinEn = bTRUE;
	AD5940_DSPCfgS(&dsp_cfg);

	AD5940_AFECtrlS(AFECTRL_HPREFPWR | AFECTRL_HSTIAPWR | AFECTRL_INAMPPWR |
			AFECTRL_EXTBUFPWR | AFECTRL_DACREFPWR | AFECTRL_HSDACPWR |
			AFECTRL_SINC2NOTCH, bTRUE);
}

static void configure_loop(const struct contact_route *route, float freq_hz, uint32_t amp_word)
{
	HSLoopCfg_Type hs_loop;

	memset(&hs_loop, 0, sizeof(hs_loop));
	hs_loop.HsDacCfg.ExcitBufGain = EXCITBUFGAIN_0P25;
	hs_loop.HsDacCfg.HsDacGain = HSDACGAIN_0P2;
	hs_loop.HsDacCfg.HsDacUpdateRate = 7;

	hs_loop.HsTiaCfg.DiodeClose = bFALSE;
	hs_loop.HsTiaCfg.HstiaBias = HSTIABIAS_1P1;
	hs_loop.HsTiaCfg.HstiaCtia = 16;
	hs_loop.HsTiaCfg.HstiaDeRload = HSTIADERLOAD_OPEN;
	hs_loop.HsTiaCfg.HstiaDeRtia = HSTIADERTIA_OPEN;
	hs_loop.HsTiaCfg.HstiaRtiaSel = HSTIARTIA_1K;

	hs_loop.SWMatCfg.Dswitch = route->dswitch;
	hs_loop.SWMatCfg.Pswitch = route->pswitch;
	hs_loop.SWMatCfg.Nswitch = route->nswitch;
	hs_loop.SWMatCfg.Tswitch = route->tswitch;

	hs_loop.WgCfg.WgType = WGTYPE_SIN;
	hs_loop.WgCfg.GainCalEn = bFALSE;
	hs_loop.WgCfg.OffsetCalEn = bFALSE;
	hs_loop.WgCfg.SinCfg.SinFreqWord = AD5940_WGFreqWordCal(freq_hz, CONTACT_SYS_CLK_HZ);
	hs_loop.WgCfg.SinCfg.SinAmplitudeWord = amp_word;
	hs_loop.WgCfg.SinCfg.SinOffsetWord = 0;
	hs_loop.WgCfg.SinCfg.SinPhaseWord = 0;
	AD5940_HSLoopCfgS(&hs_loop);
}

static void float_switches(void)
{
	SWMatrixCfg_Type sw_cfg = {
		.Dswitch = SWD_OPEN,
		.Pswitch = SWP_PL | SWP_PL2,
		.Nswitch = SWN_NL | SWN_NL2,
		.Tswitch = SWT_TRTIA,
	};

	AD5940_SWMatrixCfgS(&sw_cfg);
}

/* One DFT on the selected ADC inputs. Returns the phasor with the imaginary
 * sign corrected (the AD594x register holds its opposite, see AD5940_HSRtiaCal). */
static int dft_measure(uint32_t mux_p, uint32_t mux_n, struct cplx *out)
{
	int64_t deadline;

	AD5940_ADCMuxCfgS(mux_p, mux_n);
	k_busy_wait(CONTACT_MUX_SETTLE_US);
	AD5940_INTCClrFlag(AFEINTSRC_DFTRDY);
	AD5940_AFECtrlS(AFECTRL_ADCCNV | AFECTRL_DFT, bTRUE);

	deadline = k_uptime_get() + CONTACT_DFT_TIMEOUT_MS;
	while (AD5940_INTCTestFlag(AFEINTC_1, AFEINTSRC_DFTRDY) == bFALSE) {
		if (k_uptime_get() > deadline) {
			AD5940_AFECtrlS(AFECTRL_ADCCNV | AFECTRL_DFT, bFALSE);
			return -ETIMEDOUT;
		}
		k_usleep(500);
	}
	AD5940_AFECtrlS(AFECTRL_ADCCNV | AFECTRL_DFT, bFALSE);
	AD5940_INTCClrFlag(AFEINTSRC_DFTRDY);

	out->re = (float)sign_extend_18(AD5940_ReadAfeResult(AFERESULT_DFTREAL));
	out->im = -(float)sign_extend_18(AD5940_ReadAfeResult(AFERESULT_DFTIMAGE));
	return 0;
}

/* Voltage between the P and N nodes and HSTIA output for the active route. */
static int measure_route(struct cplx *v, struct cplx *vtia)
{
	int ret = dft_measure(ADCMUXP_P_NODE, ADCMUXN_N_NODE, v);

	if (ret == 0) {
		ret = dft_measure(ADCMUXP_HSTIA_P, ADCMUXN_HSTIA_N, vtia);
	}
	return ret;
}

struct rcal_ref {
	struct cplx v;
	struct cplx vtia;
	bool valid;
};

static void fill_entry(struct contact_check_entry *entry, const struct contact_route *route,
		       float freq_hz, struct cplx v, struct cplx vtia,
		       const struct rcal_ref *rcal, float rcal_ohms, uint32_t threshold)
{
	float omega = 2.0f * CONTACT_PI_F * freq_hz;
	/* HSTIA swing during the RCAL step: 20 mVpp / RCAL * 1 kohm (~0.67 Vpp). */
	float rcal_tia_mvpp = CONTACT_RCAL_EXC_MVPP / rcal_ohms * CONTACT_RTIA_OHM;
	float vtia_abs = cplx_abs(vtia);
	float tia_mvpp;
	struct cplx z;

	if (vtia_abs == 0.0f) {
		/* No measurable current: open circuit at this resolution. */
		entry->flags |= CONTACT_ENTRY_FLAG_OPEN | CONTACT_ENTRY_FLAG_HIGH;
		entry->magnitude_ohm = INFINITY;
		entry->phase_deg = 0.0f;
		return;
	}

	/* Z = RCAL * (V / Vtia) * (Vtia_rcal / V_rcal) */
	z = cplx_mul(cplx_div(v, vtia), cplx_div(rcal->vtia, rcal->v));
	z.re *= rcal_ohms;
	z.im *= rcal_ohms;

	/* Remove the board series elements: RL1 and two 4.7 uF capacitors. */
	if (route->through_rl1) {
		z.re -= CONTACT_RL1_OHM;
	}
	z.im += 2.0f / (omega * CONTACT_COUPLING_CAP_F);

	entry->magnitude_ohm = cplx_abs(z);
	entry->phase_deg = atan2f(z.im, z.re) * 180.0f / CONTACT_PI_F;

	/* DFT magnitudes scale linearly, so the RCAL step calibrates the swing. */
	tia_mvpp = vtia_abs / cplx_abs(rcal->vtia) * rcal_tia_mvpp;
	if (tia_mvpp > CONTACT_TIA_LINEAR_MVPP) {
		entry->flags |= CONTACT_ENTRY_FLAG_OVERRANGE;
	}

	if (!isfinite(entry->magnitude_ohm)) {
		entry->flags |= CONTACT_ENTRY_FLAG_INVALID;
	} else if (entry->magnitude_ohm > (float)threshold) {
		entry->flags |= CONTACT_ENTRY_FLAG_HIGH;
	}
}

static void init_result(struct contact_check_result *result)
{
	memset(result, 0, sizeof(*result));
	result->threshold_ohm = CONFIG_MYOHM_CONTACT_HIGH_OHMS;
	result->count = CONTACT_CHECK_MAX_ENTRIES;
	for (size_t p = 0; p < CONTACT_PAIR_COUNT; p++) {
		for (size_t f = 0; f < CONTACT_CHECK_FREQ_COUNT; f++) {
			struct contact_check_entry *entry =
				&result->entries[p * CONTACT_CHECK_FREQ_COUNT + f];

			entry->pair = contact_routes[p].pair;
			entry->frequency_hz = contact_freqs_hz[f];
			entry->magnitude_ohm = NAN;
			entry->phase_deg = NAN;
			entry->flags = CONTACT_ENTRY_FLAG_INVALID;
		}
	}
}

static void finish_flags(struct contact_check_result *result)
{
	for (size_t i = 0; i < result->count; i++) {
		uint8_t flags = result->entries[i].flags;

		if (flags & CONTACT_ENTRY_FLAG_HIGH) {
			result->flags |= CONTACT_FLAG_ANY_HIGH;
		}
		if (flags & (CONTACT_ENTRY_FLAG_INVALID | CONTACT_ENTRY_FLAG_OVERRANGE)) {
			result->flags |= CONTACT_FLAG_ANY_INVALID;
		}
	}
}

static void shutdown_afe(void)
{
	AD5940_AFECtrlS(AFECTRL_ADCCNV | AFECTRL_DFT | AFECTRL_WG | AFECTRL_ADCPWR, bFALSE);
	float_switches();
	AD5940_INTCClrFlag(AFEINTSRC_ALLINT);
	AD5940_ShutDownS();
	(void)AD5940_ClrMCUIntFlag();
}

int contact_check_run(float rcal_ohms, struct contact_check_result *result)
{
	struct rcal_ref rcal[CONTACT_CHECK_FREQ_COUNT];
	int ret = 0;

	if (result == NULL) {
		return -EINVAL;
	}
	init_result(result);
	if (!(rcal_ohms > 0.0f)) {
		result->flags |= CONTACT_FLAG_AFE_ERROR | CONTACT_FLAG_ANY_INVALID;
		return -EINVAL;
	}

	AD5940PlatformCfg();
	if (AD5940_GetADIID() != AD5940_ADIID) {
		result->flags |= CONTACT_FLAG_AFE_ERROR | CONTACT_FLAG_ANY_INVALID;
		return -ENODEV;
	}

	/* Results are read from the DFT registers; keep them out of the FIFO so
	 * the data-FIFO interrupt used by the sweep does not fire. */
	AD5940_FIFOCtrlS(FIFOSRC_DFT, bFALSE);
	AD5940_AFEPwrBW(AFEPWR_LP, AFEBW_250KHZ);
	configure_afe();

	/* RCAL reference at both frequencies. */
	for (size_t f = 0; f < CONTACT_CHECK_FREQ_COUNT && ret == 0; f++) {
		configure_loop(&contact_rcal_route, contact_freqs_hz[f], CONTACT_RCAL_AMP_WORD);
		AD5940_AFECtrlS(AFECTRL_WG | AFECTRL_ADCPWR, bTRUE);
		k_msleep(CONTACT_RCAL_SETTLE_MS);
		ret = measure_route(&rcal[f].v, &rcal[f].vtia);
		rcal[f].valid = ret == 0 && cplx_abs(rcal[f].v) > 0.0f &&
				cplx_abs(rcal[f].vtia) > 0.0f;
		if (ret == 0 && !rcal[f].valid) {
			ret = -EIO;
		}
	}
	if (ret != 0) {
		printk("Contact check: RCAL reference failed (%d)\n", ret);
		result->flags |= CONTACT_FLAG_AFE_ERROR | CONTACT_FLAG_ANY_INVALID;
		shutdown_afe();
		return ret;
	}

	for (size_t p = 0; p < CONTACT_PAIR_COUNT; p++) {
		const struct contact_route *route = &contact_routes[p];

		for (size_t f = 0; f < CONTACT_CHECK_FREQ_COUNT; f++) {
			struct contact_check_entry *entry =
				&result->entries[p * CONTACT_CHECK_FREQ_COUNT + f];
			struct cplx v;
			struct cplx vtia;
			int meas_ret;

			configure_loop(route, contact_freqs_hz[f], CONTACT_PAIR_AMP_WORD);
			AD5940_AFECtrlS(AFECTRL_WG | AFECTRL_ADCPWR, bTRUE);
			/* The first frequency of a pair also lets the coupling
			 * capacitors settle after the switch change. */
			k_msleep(f == 0 ? CONTACT_SETTLE_FIRST_MS : CONTACT_SETTLE_NEXT_MS);

			meas_ret = measure_route(&v, &vtia);
			if (meas_ret != 0) {
				/* Remaining entries stay INVALID. */
				printk("Contact check: DFT failed (%d)\n", meas_ret);
				result->flags |= CONTACT_FLAG_AFE_ERROR;
				ret = meas_ret;
				goto done;
			}
			entry->flags = 0;
			fill_entry(entry, route, contact_freqs_hz[f], v, vtia, &rcal[f],
				   rcal_ohms, result->threshold_ohm);
			printk("Contact pair %u @ %.0f Hz: |Z|=%.1f Ohm phase=%.2f deg flags=0x%02x\n",
			       entry->pair, (double)entry->frequency_hz,
			       (double)entry->magnitude_ohm, (double)entry->phase_deg,
			       entry->flags);
		}
		AD5940_AFECtrlS(AFECTRL_WG | AFECTRL_ADCPWR, bFALSE);
	}

done:
	shutdown_afe();
	finish_flags(result);
	return ret;
}

static void put_le_float(float value, uint8_t *dst)
{
	uint32_t raw;

	memcpy(&raw, &value, sizeof(raw));
	sys_put_le32(raw, dst);
}

size_t contact_check_encode(const struct contact_check_result *result,
			    uint8_t *buf, size_t buf_len)
{
	size_t offset = 0;

	if (result == NULL || buf == NULL ||
	    buf_len < CONTACT_CHECK_HEADER_SIZE + (size_t)result->count * CONTACT_CHECK_ENTRY_SIZE) {
		return 0;
	}

	buf[offset++] = CONTACT_CHECK_PAYLOAD_VERSION;
	buf[offset++] = result->count;
	sys_put_le16(result->flags, &buf[offset]);
	offset += 2;
	sys_put_le32(result->threshold_ohm, &buf[offset]);
	offset += 4;

	for (size_t i = 0; i < result->count; i++) {
		const struct contact_check_entry *entry = &result->entries[i];

		buf[offset++] = entry->pair;
		buf[offset++] = entry->flags;
		sys_put_le16(0, &buf[offset]);
		offset += 2;
		put_le_float(entry->frequency_hz, &buf[offset]);
		offset += 4;
		put_le_float(entry->magnitude_ohm, &buf[offset]);
		offset += 4;
		put_le_float(entry->phase_deg, &buf[offset]);
		offset += 4;
	}

	return offset;
}
```

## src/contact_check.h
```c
/* SPDX-License-Identifier: Apache-2.0 */
/*
 * Two-wire electrode contact check for the Myohm AD5941 front end.
 * See docs/ble-protocol.md (command 0x0B) for the BLE payload.
 */

#ifndef CONTACT_CHECK_H
#define CONTACT_CHECK_H

#include <stddef.h>
#include <stdint.h>

/* Electrode pairs. Values are part of the BLE payload; do not renumber. */
enum contact_pair {
	CONTACT_PAIR_IP_IM = 0, /* I+ (CE0 via RL1) to I- (AIN1) */
	CONTACT_PAIR_VP_VM = 1, /* V+ (AIN2) to V- (AIN3) */
	CONTACT_PAIR_IP_VP = 2, /* I+ (CE0 via RL1) to V+ (AIN2) */
	CONTACT_PAIR_IM_VM = 3, /* V- (AIN3) to I- (AIN1) */
	CONTACT_PAIR_COUNT,
};

#define CONTACT_CHECK_FREQ_COUNT 2
#define CONTACT_CHECK_MAX_ENTRIES (CONTACT_PAIR_COUNT * CONTACT_CHECK_FREQ_COUNT)

/* Per-entry flags */
#define CONTACT_ENTRY_FLAG_HIGH    0x01 /* |Z| above CONFIG_MYOHM_CONTACT_HIGH_OHMS */
#define CONTACT_ENTRY_FLAG_INVALID 0x02 /* Not measured (AFE error or timeout) */
#define CONTACT_ENTRY_FLAG_OPEN    0x04 /* No measurable current; magnitude is +inf */
#define CONTACT_ENTRY_FLAG_OVERRANGE 0x08 /* HSTIA beyond its linear swing; |Z| unreliable (very low) */

/* Global flags */
#define CONTACT_FLAG_ANY_HIGH      0x0001
#define CONTACT_FLAG_ANY_INVALID   0x0002 /* Any entry INVALID or OVERRANGE */
#define CONTACT_FLAG_AFE_ERROR     0x0004 /* AD5941 not detected or check aborted */

#define CONTACT_CHECK_PAYLOAD_VERSION 1
#define CONTACT_CHECK_HEADER_SIZE 8
#define CONTACT_CHECK_ENTRY_SIZE 16
#define CONTACT_CHECK_PAYLOAD_SIZE \
	(CONTACT_CHECK_HEADER_SIZE + CONTACT_CHECK_MAX_ENTRIES * CONTACT_CHECK_ENTRY_SIZE)

struct contact_check_entry {
	uint8_t pair;
	uint8_t flags;
	float frequency_hz;
	float magnitude_ohm; /* Board series elements already subtracted */
	float phase_deg;
};

struct contact_check_result {
	uint16_t flags;
	uint32_t threshold_ohm;
	uint8_t count;
	struct contact_check_entry entries[CONTACT_CHECK_MAX_ENTRIES];
};

/*
 * Run the check on the AD5941. Blocks for roughly one second. The AFE is
 * reset at the start and left in hibernate; the next sweep reinitializes it.
 * The result is always filled; on AFE failure every entry is marked invalid
 * and a negative errno is returned.
 */
int contact_check_run(float rcal_ohms, struct contact_check_result *result);

/* Serialize a result into the little-endian BLE payload. Returns bytes written. */
size_t contact_check_encode(const struct contact_check_result *result,
			    uint8_t *buf, size_t buf_len);

#endif /* CONTACT_CHECK_H */
```
